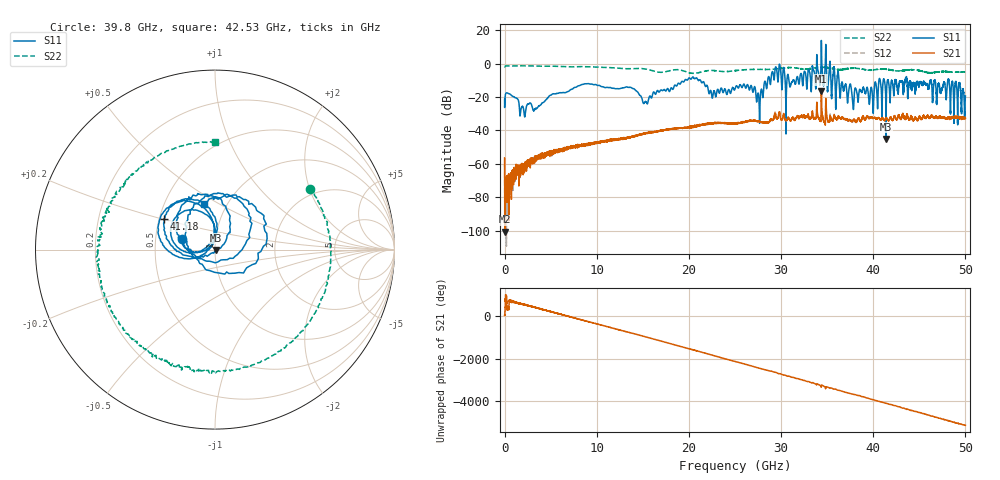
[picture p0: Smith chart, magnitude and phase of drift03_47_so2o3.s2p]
!Created with skrf (http://scikit-rf.org).
# Hz S RI R 50.0
!freq ReS11 ImS11 ReS21 ImS21 ReS12 ImS12 ReS22 ImS22
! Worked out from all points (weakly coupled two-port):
!   10001 points, 300 kHz to 50 GHz, reference 50 ohm
!   highest |S21| = -16.68 dB at 34.37 GHz (marker M1); lowest = -100.7 dB at 20.3 MHz (marker M2)
!   lowest |S11| = -45.2 dB at 41.4 GHz (marker M3), VSWR 1.01, Z = 50.5 - j0.166 ohm
!   |S11| at or under -10 dB: start of sweep to 19.55 GHz; 21.25 GHz to 28.55 GHz (7.298 GHz wide, 29.3 % of centre); 36.28 GHz to 40.62 GHz (4.337 GHz wide, 11.3 % of centre) (the widest 3 of 36)
!   |S22| runs from -5.9 to -1.3 dB; largest |S21 - S12| = 0.028
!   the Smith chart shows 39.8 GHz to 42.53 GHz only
!   S11 on the Smith chart (normalised r, x): 39.8 GHz: 0.69, +0.09; 41.18 GHz: 0.53, +0.21; 42.53 GHz: 0.79, +0.43
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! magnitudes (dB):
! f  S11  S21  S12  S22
! 300 kHz  -21.4  -56.5  -60.1  -2.0
! 20.3 MHz  -24.0  -100.7  -76.2  -1.9
! 255.3 MHz  -17.6  -76.1  -76.4  -1.4
! 3.3 GHz  -27.2  -57.5  -57.6  -1.5
! 8.335 GHz  -12.6  -48.6  -48.8  -1.9
! 13.76 GHz  -14.5  -44.1  -44.2  -3.1
! 15.29 GHz  -22.8  -41.6  -41.9  -3.3
! 16.67 GHz  -16.5  -40.6  -40.3  -5.2
! 20.26 GHz  -9.1  -37.7  -37.9  -5.8
! 22.71 GHz  -16.4  -35.8  -35.7  -4.2
! 25 GHz  -15.3  -35.8  -35.7  -4.3
! 27.52 GHz  -17.8  -34.4  -34.5  -3.5
! 29.28 GHz  -8.7  -31.0  -30.6  -3.3
! 30.73 GHz  -6.6  -32.7  -32.6  -2.5
! 33.34 GHz  -7.3  -31.1  -31.3  -2.9
! 34.37 GHz  13.8  -16.7  -18.0  -2.3
! 39.8 GHz  -14.4  -32.0  -32.2  -4.0
! 41.18 GHz  -9.6  -34.0  -33.9  -3.4
! 41.4 GHz  -45.2  -32.6  -32.8  -3.5
! 41.67 GHz  -11.4  -34.3  -34.1  -3.7
! 42.53 GHz  -11.7  -33.4  -33.5  -4.4
! 50 GHz  -19.4  -32.8  -32.5  -5.0
